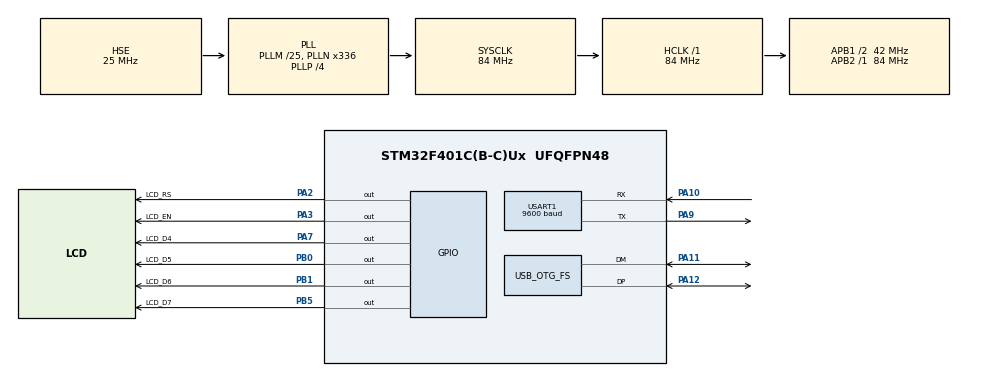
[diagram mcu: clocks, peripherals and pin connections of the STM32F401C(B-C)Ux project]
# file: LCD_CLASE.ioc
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Mcu.Family=STM32F4
Mcu.Name=STM32F401C(B-C)Ux
Mcu.Package=UFQFPN48
NVIC.OTG_FS_IRQn=true\:0\:0\:false\:false\:true\:false\:true\:true
NVIC.PriorityGroup=NVIC_PRIORITYGROUP_4
PA10.Mode=Asynchronous
PA10.Signal=USART1_RX
PA11.Mode=Device_Only
PA11.Signal=USB_OTG_FS_DM
PA12.Mode=Device_Only
PA12.Signal=USB_OTG_FS_DP
PA2.GPIO_Label=LCD_RS
PA2.Signal=GPIO_Output
PA3.GPIO_Label=LCD_EN
PA3.Signal=GPIO_Output
PA7.GPIO_Label=LCD_D4
PA7.Signal=GPIO_Output
PA9.Mode=Asynchronous
PA9.Signal=USART1_TX
PB0.GPIO_Label=LCD_D5
PB0.Signal=GPIO_Output
PB1.GPIO_Label=LCD_D6
PB1.Signal=GPIO_Output
PB5.GPIO_Label=LCD_D7
PB5.Signal=GPIO_Output
PH0\ -\ OSC_IN.Mode=HSE-External-Oscillator
PH0\ -\ OSC_IN.Signal=RCC_OSC_IN
PH1\ -\ OSC_OUT.Mode=HSE-External-Oscillator
PH1\ -\ OSC_OUT.Signal=RCC_OSC_OUT
ProjectManager.HeapSize=0x200
ProjectManager.StackSize=0x400
ProjectManager.TargetToolchain=STM32CubeIDE
RCC.48MHZClocksFreq_Value=48000000
RCC.AHBFreq_Value=84000000
RCC.APB1CLKDivider=RCC_HCLK_DIV2
RCC.APB1Freq_Value=42000000
RCC.APB1TimFreq_Value=84000000
RCC.APB2Freq_Value=84000000
RCC.APB2TimFreq_Value=84000000
RCC.CortexFreq_Value=84000000
RCC.HCLKFreq_Value=84000000
RCC.HSE_VALUE=25000000
RCC.HSI_VALUE=16000000
RCC.LSE_VALUE=32768
RCC.PLLM=25
RCC.PLLN=336
RCC.PLLP=RCC_PLLP_DIV4
RCC.PLLQ=7
RCC.SYSCLKFreq_VALUE=84000000
RCC.SYSCLKSource=RCC_SYSCLKSOURCE_PLLCLK
RCC.VCOOutputFreq_Value=336000000
USART1.BaudRate=9600
USART1.VirtualMode=VM_ASYNC
USB_DEVICE.CLASS_NAME_FS=CDC
USB_DEVICE.VirtualMode=Cdc
USB_DEVICE.VirtualModeFS=Cdc_FS
USB_OTG_FS.VirtualMode=Device_Only
VP_USB_DEVICE_VS_USB_DEVICE_CDC_FS.Mode=CDC_FS
board=custom

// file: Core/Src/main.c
/* USER CODE BEGIN Header */
/**
  ******************************************************************************
  * @file           : main.c
  * @brief          : Main program body
  ******************************************************************************
  * @attention
  *
  * Copyright (c) 2023 STMicroelectronics.
  * All rights reserved.
  *
  * This software is licensed under terms that can be found in the LICENSE file
  * in the root directory of this software component.
  * If no LICENSE file comes with this software, it is provided AS-IS.
  *
  ******************************************************************************
  */
/* USER CODE END Header */
#include "main.h"
#include "usb_device.h"

/* USER CODE BEGIN Includes */
#include "delays.h"
#include "lcd.h"
#include "stdio.h"
#include "string.h"
#include "uart.h"
#include  "printf_out.h"
#include "usb_cdc.h"

/* USER CODE END Includes */

UART_HandleTypeDef huart1;

/* USER CODE BEGIN PV */
char especial1[8] = {0x1B,0x1B,0x0,0x4,0x15,0x15,0xE,0x0};
char especial2[] = {0x1B,0x1B,0x11,0x11,0x11,0xA,0x4,0x1B};

char texto[50];

uint16_t cont8=0;
int16_t cont8s=-102;

float contf=0.2;

char ok[]="oks";

/* USER CODE END PV */

void SystemClock_Config(void);
static void MX_GPIO_Init(void);
static void MX_USART1_UART_Init(void);

int main(void)
{

  /* MCU Configuration--------------------------------------------------------*/

  /* Reset of all peripherals, Initializes the Flash interface and the Systick. */
  HAL_Init();

  /* Configure the system clock */
  SystemClock_Config();

  /* Initialize all configured peripherals */
  MX_GPIO_Init();
  MX_USART1_UART_Init();
  MX_USB_DEVICE_Init();
  /* USER CODE BEGIN 2 */
  HAL_Delay(200);
  delay_us_dwt_init();

    Lcd_Init();// inica el lcd
    Lcd_Cmd(_LCD_CLEAR);//borro pantalla

    Lcd_Cmd(_LCD_CURSOR_OFF);// apaga opcional

      Lcd_Text(1, 2, "SUSCRIBANSE");
/*
      Lcd_Text(3,3, "AL CANAL");
     Lcd_Chr(2, 8, '5');

     Lcd_Text_Cp("VOLT");
     Lcd_Chr_Cp('x');

     Lcd_chr_propio(2, 1, 1, especial1);
     Lcd_chr_propio(4, 4, 2, especial2);
*/

  /* USER CODE END 2 */

  /* Infinite loop */
  /* USER CODE BEGIN WHILE */
  while (1)
  {
      //HAL_UART_Transmit(&huart1, "HOLA\r\n", 6, HAL_MAX_DELAY);
	//uartx_write_text(&huart1, "HOLA\r\n");
//	   usb_uart_write( "HOLA\r\n");
   printf( "HOLA\r\n");

	 sprintf(texto,"CNT1=%#03X",cont8);
      Lcd_Text(2, 1, texto);
       cont8++;

       sprintf(texto,"CNT2=%3d",cont8s);
            Lcd_Text(3, 1, texto);
             cont8s--;

         //    sprintf(texto,"CNT1=%-u CNT1=%3d",cont8,cont8s);
           //              Lcd_Text(4, 1, texto);

          //   sprintf(texto,"CNT2=%s",ok);
            //             Lcd_Text(4, 1, texto);

             sprintf(texto,"CNTf=%4.2f",contf);
                   Lcd_Text(4, 1, texto);
                    contf+=0.65;

               //   sprintf(texto,"CNT1=%-u  CNT1=%3d   CNTf=%4.2f\r\n",cont8,cont8s,contf);
                 //    uartx_write_text(&huart1, texto);
                //   usb_uart_write(texto);

                    printf("CoNT1=%-u  CNT1=%3d   CNTf=%4.2f\r\n",cont8,cont8s,contf);

                    Delay_ms(500);

    /* USER CODE END WHILE */

  }
}

void SystemClock_Config(void)
{
  RCC_OscInitTypeDef RCC_OscInitStruct = {0};
  RCC_ClkInitTypeDef RCC_ClkInitStruct = {0};

  /** Configure the main internal regulator output voltage
  */
  __HAL_RCC_PWR_CLK_ENABLE();
  __HAL_PWR_VOLTAGESCALING_CONFIG(PWR_REGULATOR_VOLTAGE_SCALE2);

  /** Initializes the RCC Oscillators according to the specified parameters
  * in the RCC_OscInitTypeDef structure.
  */
  RCC_OscInitStruct.OscillatorType = RCC_OSCILLATORTYPE_HSE;
  RCC_OscInitStruct.HSEState = RCC_HSE_ON;
  RCC_OscInitStruct.PLL.PLLState = RCC_PLL_ON;
  RCC_OscInitStruct.PLL.PLLSource = RCC_PLLSOURCE_HSE;
  RCC_OscInitStruct.PLL.PLLM = 25;
  RCC_OscInitStruct.PLL.PLLN = 336;
  RCC_OscInitStruct.PLL.PLLP = RCC_PLLP_DIV4;
  RCC_OscInitStruct.PLL.PLLQ = 7;
  if (HAL_RCC_OscConfig(&RCC_OscInitStruct) != HAL_OK)
  {
    Error_Handler();
  }

  /** Initializes the CPU, AHB and APB buses clocks
  */
  RCC_ClkInitStruct.ClockType = RCC_CLOCKTYPE_HCLK|RCC_CLOCKTYPE_SYSCLK
                              |RCC_CLOCKTYPE_PCLK1|RCC_CLOCKTYPE_PCLK2;
  RCC_ClkInitStruct.SYSCLKSource = RCC_SYSCLKSOURCE_PLLCLK;
  RCC_ClkInitStruct.AHBCLKDivider = RCC_SYSCLK_DIV1;
  RCC_ClkInitStruct.APB1CLKDivider = RCC_HCLK_DIV2;
  RCC_ClkInitStruct.APB2CLKDivider = RCC_HCLK_DIV1;

  if (HAL_RCC_ClockConfig(&RCC_ClkInitStruct, FLASH_LATENCY_2) != HAL_OK)
  {
    Error_Handler();
  }
}

static void MX_USART1_UART_Init(void)
{

  huart1.Instance = USART1;
  huart1.Init.BaudRate = 9600;
  huart1.Init.WordLength = UART_WORDLENGTH_8B;
  huart1.Init.StopBits = UART_STOPBITS_1;
  huart1.Init.Parity = UART_PARITY_NONE;
  huart1.Init.Mode = UART_MODE_TX_RX;
  huart1.Init.HwFlowCtl = UART_HWCONTROL_NONE;
  huart1.Init.OverSampling = UART_OVERSAMPLING_16;
  if (HAL_UART_Init(&huart1) != HAL_OK)
  {
    Error_Handler();
  }

}

static void MX_GPIO_Init(void)
{
  GPIO_InitTypeDef GPIO_InitStruct = {0};

  /* GPIO Ports Clock Enable */
  __HAL_RCC_GPIOH_CLK_ENABLE();
  __HAL_RCC_GPIOA_CLK_ENABLE();
  __HAL_RCC_GPIOB_CLK_ENABLE();

  /*Configure GPIO pin Output Level */
  HAL_GPIO_WritePin(GPIOA, LCD_RS_Pin|LCD_EN_Pin|LCD_D4_Pin, GPIO_PIN_RESET);

  /*Configure GPIO pin Output Level */
  HAL_GPIO_WritePin(GPIOB, LCD_D5_Pin|LCD_D6_Pin|LCD_D7_Pin, GPIO_PIN_RESET);

  /*Configure GPIO pins : LCD_RS_Pin LCD_EN_Pin LCD_D4_Pin */
  GPIO_InitStruct.Pin = LCD_RS_Pin|LCD_EN_Pin|LCD_D4_Pin;
  GPIO_InitStruct.Mode = GPIO_MODE_OUTPUT_PP;
  GPIO_InitStruct.Pull = GPIO_NOPULL;
  GPIO_InitStruct.Speed = GPIO_SPEED_FREQ_LOW;
  HAL_GPIO_Init(GPIOA, &GPIO_InitStruct);

  /*Configure GPIO pins : LCD_D5_Pin LCD_D6_Pin LCD_D7_Pin */
  GPIO_InitStruct.Pin = LCD_D5_Pin|LCD_D6_Pin|LCD_D7_Pin;
  GPIO_InitStruct.Mode = GPIO_MODE_OUTPUT_PP;
  GPIO_InitStruct.Pull = GPIO_NOPULL;
  GPIO_InitStruct.Speed = GPIO_SPEED_FREQ_LOW;
  HAL_GPIO_Init(GPIOB, &GPIO_InitStruct);

}

void Error_Handler(void)
{
  __disable_irq();
  while (1)
  {
  }
}
